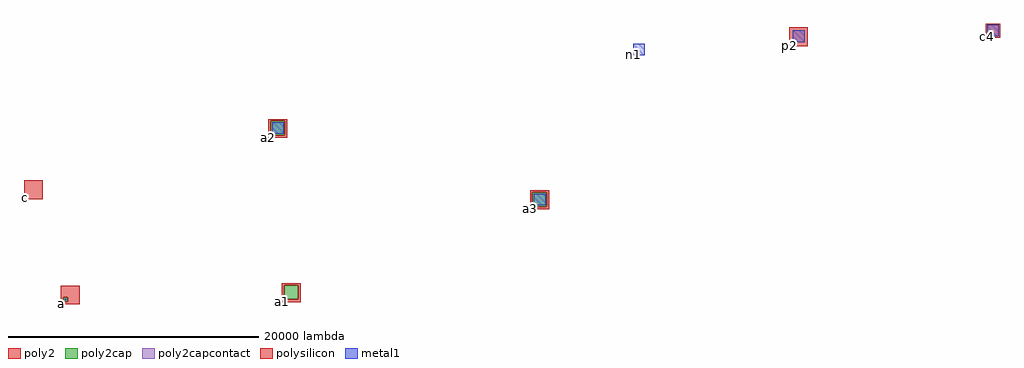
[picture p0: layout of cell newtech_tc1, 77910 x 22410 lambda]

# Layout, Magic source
magic
tech amic5n
<< poly2 >>
rect 73830 21270 74970 22410
<< poly2cap >>
rect 16740 13500 17880 14640
rect 37650 7800 38790 8940
rect 180 210 570 570
rect 17820 390 18960 1530
<< poly2capcontact >>
rect 16895 13655 16945 13705
<< poly2capcontact >>
rect 17975 545 18025 595
<< poly2capcontact >>
rect 335 365 385 415
<< polysilicon >>
rect 58140 20610 59640 22110
rect 16560 14640 18060 14790
rect 16560 13500 16740 14640
rect 17880 13500 18060 14640
rect 16560 13290 18060 13500
rect -2940 8400 -1440 9900
rect 37470 8940 38970 9090
rect 37470 7800 37650 8940
rect 38790 7800 38970 8940
rect 37470 7590 38970 7800
rect 17640 1530 19140 1680
rect 0 570 1500 1500
rect 0 210 180 570
rect 570 210 1500 570
rect 0 0 1500 210
rect 17640 390 17820 1530
rect 18960 390 19140 1530
rect 17640 180 19140 390
<< metal1 >>
rect 58440 20940 59370 21870
rect 73950 21390 74880 22320
rect 45690 19890 46620 20820
rect 16860 13620 17790 14550
rect 37770 7920 38700 8850
rect 17940 510 18060 630
rect 300 330 420 450
<< labels >>
flabel polysilicon s 30 30 30 30 2 FreeSans 400 0 0 0 a
flabel metal1 s 330 360 330 360 2 FreeSans 400 0 0 0 b
flabel polysilicon s -2790 8550 -2790 8550 2 FreeSans 400 0 0 0 c
flabel polysilicon s 17670 210 17670 210 2 FreeSans 400 0 0 0 a1
flabel metal1 s 17970 540 17970 540 2 FreeSans 400 0 0 0 b1
flabel polysilicon s 16590 13320 16590 13320 2 FreeSans 400 0 0 0 a2
flabel electrode s 16890 13650 16890 13650 2 FreeSans 400 0 0 0 b2
flabel polysilicon s 37500 7620 37500 7620 2 FreeSans 400 0 0 0 a3
flabel metal1 s 37800 7950 37800 7950 2 FreeSans 400 0 0 0 c3
flabel electrode s 37710 7860 37710 7860 2 FreeSans 400 0 0 0 b3
flabel metal1 s 45720 19920 45720 19920 2 FreeSans 400 0 0 0 n1
flabel polysilicon s 58170 20640 58170 20640 2 FreeSans 400 0 0 0 p2
flabel metal1 s 58470 20970 58470 20970 2 FreeSans 400 0 0 0 n2
flabel metal1 s 73980 21420 73980 21420 2 FreeSans 400 0 0 0 c4
flabel electrode s 73890 21330 73890 21330 2 FreeSans 400 0 0 0 b4
<< end >>
